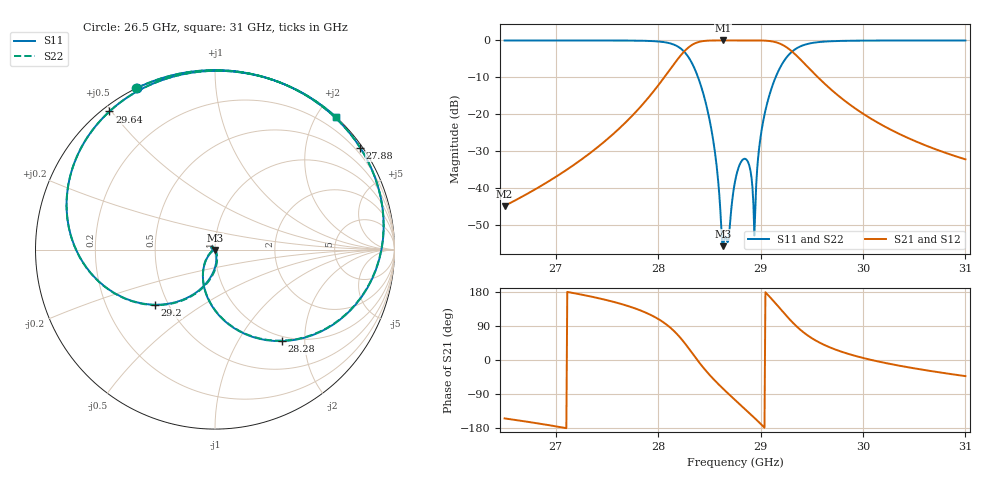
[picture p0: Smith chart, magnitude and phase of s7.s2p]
! Touchstone file from project Ka_PF
! Exported from HFSS 15.0.0
! Variables:
!  AA = 0.34in
!  BB = 0.145in
!  M01 = 0.1677in
!  M11 = 0.2119in
!  M12 = 0.1109in
!  M22 = 0.2365in
!  PL = 0.3in
!  RR = 0.035in
!  TT = 0.04in
!Data is not renormalized
# GHZ S DB
! Modal data exported
! Port[1] = 1:1
! Port[2] = 2:1
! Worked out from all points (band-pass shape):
!   501 points, 26.5 GHz to 31 GHz, reference per port
!   highest |S21| = 0.00 dB at 28.63 GHz (marker M1); lowest = -44.8 dB at 26.5 GHz (marker M2)
!   |S21| within 3 dB of the highest: 28.25 GHz to 29.31 GHz (1.054 GHz wide, 3.66 % of centre)
!   lowest |S11| = -55.7 dB at 28.63 GHz (marker M3), VSWR 1.00
!   |S11| at or under -10 dB: 28.39 GHz to 29.15 GHz (756.4 MHz wide, 2.63 % of centre)
!   |S22| runs from -55.7 to 0.0 dB; largest |S21 - S12| = 4.5e-14
!   S11 on the Smith chart (normalised r, x): 26.5 GHz: 0.00, +0.63; 27.88 GHz: 0.06, +3.17; 28.28 GHz: 0.92, -1.56; 29.2 GHz: 0.42, -0.33; 29.64 GHz: 0.02, +0.49; 31 GHz: 0.00, +2.28
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26.5  -0.00 115.8  -44.77 -154.1  -44.77 -154.1  -0.00 116.0
! Gamma ! -0 419.682046712179 -0 419.682061316531
! Port Impedance 262.302945550707 0 262.30327305701 0
27.256  -0.00 82.2  -32.10 172.3  -32.10 172.3  -0.00 82.4
27.877  -0.10 35.0  -16.38 125.2  -16.38 125.2  -0.10 35.3
28.003  -0.28 17.6  -12.05 107.8  -12.05 107.8  -0.28 17.9
28.147  -1.06 -11.8  -6.65 78.4  -6.65 78.4  -1.06 -11.4
28.282  -3.98 -53.7  -2.22 36.5  -2.22 36.5  -3.98 -53.4
28.39  -10.03 -93.0  -0.45 -2.9  -0.45 -2.9  -10.03 -92.8
28.507  -22.24 -130.4  -0.03 -40.9  -0.03 -40.9  -22.24 -131.4
28.57  -33.80 -145.4  -0.00 -58.8  -0.00 -58.8  -33.80 -152.3
28.633  -55.67 -68.8  -0.00 -75.7  -0.00 -75.7  -55.69 97.5
28.687  -53.87 -111.0  -0.00 -89.5  -0.00 -89.5  -53.89 112.0
28.75  -38.22 174.4  -0.00 -105.4  -0.00 -105.4  -38.22 154.9
28.858  -32.14 143.0  -0.00 -132.1  -0.00 -132.1  -32.14 132.7
28.939  -52.77 -171.7  -0.00 -152.5  -0.00 -152.5  -52.66 46.5
28.984  -29.53 -77.8  -0.00 -164.1  -0.00 -164.1  -29.53 -70.4
29.029  -21.30 -87.6  -0.03 -176.2  -0.03 -176.2  -21.30 -84.9
29.2  -6.86 -137.4  -1.00 132.8  -1.00 132.8  -6.86 -137.1
29.353  -2.11 178.3  -4.15 88.3  -4.15 88.3  -2.11 178.4
29.506  -0.67 146.6  -8.46 56.6  -8.46 56.6  -0.67 146.6
29.641  -0.28 127.4  -12.10 37.4  -12.10 37.4  -0.28 127.4
30.253  -0.02 80.2  -23.89 -9.8  -23.89 -9.8  -0.02 80.3
31  -0.00 47.4  -32.17 -42.6  -32.17 -42.6  -0.00 47.5
